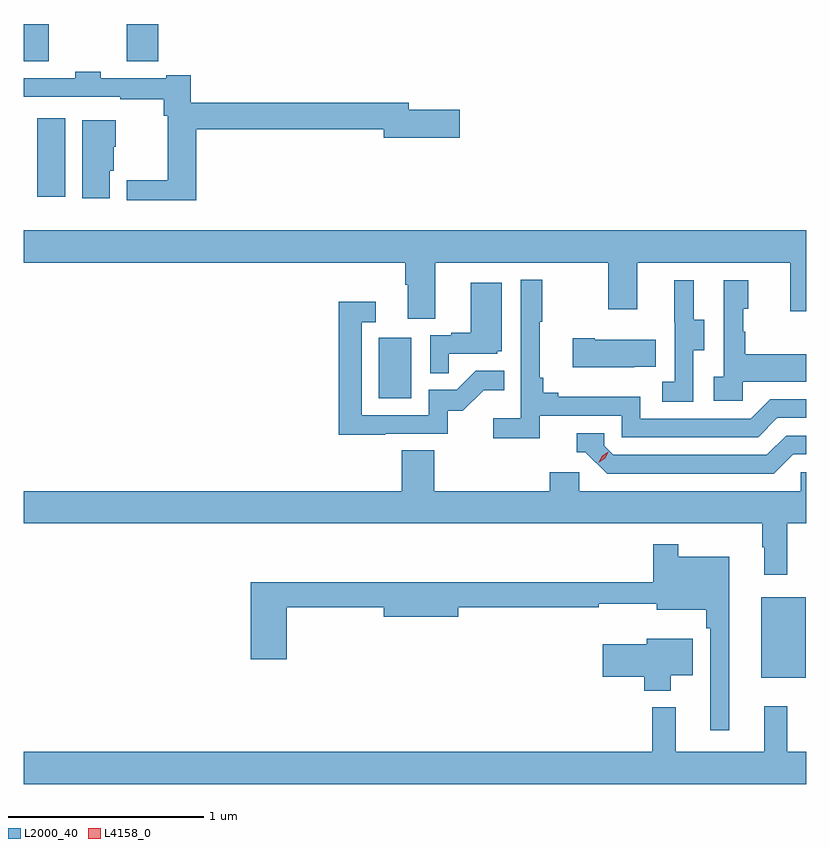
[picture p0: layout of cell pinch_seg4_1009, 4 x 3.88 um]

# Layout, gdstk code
import gdstk
lib = gdstk.Library(unit=1e-6, precision=1e-09)
def R(c, l, rs):  # rectangles x0, y0, x1, y1
    for r in rs: c.add(gdstk.rectangle(r[:2], r[2:], *l))
def P(c, l, *ps):  # polygons
    for p in ps: c.add(gdstk.Polygon(p, *l))
L2000_40 = (2000, 40)
L4158_0 = (4158, 0)

pinch_seg4_1009 = lib.new_cell('pinch_seg4_1009')
R(pinch_seg4_1009, L2000_40, [(822.395,788.039,822.622,788.449), (820.442,789.468,820.606,789.775), (818.696,790.496,818.839,790.897), (818.626,791.188,818.756,791.379), (819.154,791.188,819.314,791.379)])
P(pinch_seg4_1009, L2000_40, [(819.509,790.84),(820.466,790.84),(820.466,790.798),(820.855,790.798),(820.855,790.94),(820.594,790.94),(820.594,790.976),(819.479,790.976),(819.479,791.116),(819.356,791.116),(819.356,791.103),(819.021,791.103),(819.021,791.136),(818.889,791.136),(818.889,791.103),(818.626,791.103),(818.626,791.007),(819.121,791.007),(819.121,790.995),(819.343,790.995),(819.343,790.91),(819.362,790.91),(819.362,790.58),(819.153,790.58),(819.153,790.478),(819.509,790.478)],
  [(819.067,790.629),(819.088,790.629),(819.088,790.752),(819.097,790.752),(819.097,790.888),(818.927,790.888),(818.927,790.488),(819.067,790.488)],
  [(818.626,790.16),(820.577,790.16),(820.577,790.048),(820.589,790.048),(820.589,789.874),(820.729,789.874),(820.729,790.16),(821.614,790.16),(821.614,789.921),(821.761,789.921),(821.761,790.16),(822.542,790.16),(822.542,789.912),(822.626,789.912),(822.626,790.324),(818.626,790.324)],
  [(821.264,789.378),(821.682,789.378),(821.682,789.267),(822.379,789.267),(822.478,789.366),(822.626,789.366),(822.626,789.462),(822.441,789.462),(822.342,789.363),(821.778,789.363),(821.778,789.475),(821.359,789.475),(821.359,789.494),(821.282,789.494),(821.282,789.571),(821.263,789.571),(821.263,789.859),(821.275,789.859),(821.275,790.072),(821.166,790.072),(821.166,789.364),(821.025,789.364),(821.025,789.262),(821.264,789.262)],
  [(822.048,789.712),(822.103,789.712),(822.103,789.867),(822.049,789.867),(822.049,790.069),(821.951,790.069),(821.951,789.855),(821.952,789.855),(821.952,789.551),(821.889,789.551),(821.889,789.448),(822.048,789.448)],
  [(822.3,789.551),(822.626,789.551),(822.626,789.691),(822.313,789.691),(822.313,789.806),(822.303,789.806),(822.303,789.924),(822.328,789.924),(822.328,790.069),(822.204,790.069),(822.204,789.578),(822.153,789.578),(822.153,789.453),(822.3,789.453)],
  [(820.799,789.693),(821.046,789.693),(821.046,789.708),(821.068,789.708),(821.068,790.057),(820.91,790.057),(820.91,789.802),(820.811,789.802),(820.811,789.789),(820.704,789.789),(820.704,789.595),(820.799,789.595)],
  [(820.475,789.285),(820.794,789.285),(820.794,789.402),(820.87,789.402),(820.977,789.509),(821.081,789.509),(821.081,789.608),(820.937,789.608),(820.839,789.51),(820.695,789.51),(820.695,789.381),(820.353,789.381),(820.353,789.855),(820.426,789.855),(820.426,789.961),(820.237,789.961),(820.237,789.28),(820.475,789.28)],
  [(821.747,789.629),(821.855,789.629),(821.855,789.766),(821.545,789.766),(821.545,789.774),(821.433,789.774),(821.433,789.626),(821.747,789.626)],
  [(822.559,789.18),(822.626,789.18),(822.626,789.276),(822.522,789.276),(822.423,789.177),(821.64,789.177),(821.592,789.225),(821.592,789.288),(821.453,789.288),(821.453,789.192),(821.496,789.192),(821.607,789.081),(822.46,789.081)],
  [(822.527,788.828),(822.626,788.828),(822.626,789.09),(822.597,789.09),(822.597,788.992),(821.466,788.992),(821.466,789.09),(821.315,789.09),(821.315,788.992),(820.724,788.992),(820.724,789.2),(820.559,789.2),(820.559,788.992),(818.626,788.992),(818.626,788.828),(822.399,788.828),(822.399,788.705),(822.41,788.705),(822.41,788.565),(822.527,788.565)],
  [(822.232,788.656),(821.971,788.656),(821.971,788.722),(821.842,788.722),(821.842,788.527),(819.788,788.527),(819.788,788.133),(819.971,788.133),(819.971,788.398),(820.466,788.398),(820.466,788.351),(820.846,788.351),(820.846,788.398),(821.565,788.398),(821.565,788.417),(821.861,788.417),(821.861,788.387),(822.115,788.387),(822.115,788.291),(822.135,788.291),(822.135,787.77),(822.232,787.77)],
  [(821.932,788.051),(822.046,788.051),(822.046,788.239),(821.81,788.239),(821.81,788.209),(821.586,788.209),(821.586,788.044),(821.798,788.044),(821.798,787.973),(821.932,787.973)],
  [(822.626,787.66),(822.527,787.66),(822.527,787.894),(822.41,787.894),(822.41,787.66),(821.957,787.66),(821.957,787.888),(821.839,787.888),(821.839,787.66),(818.626,787.66),(818.626,787.496),(822.626,787.496)])
P(pinch_seg4_1009, L4158_0, [(821.566,789.141),(821.566,789.141),(821.583,789.174),(821.614,789.193),(821.614,789.193),(821.614,789.193),(821.598,789.16),(821.567,789.141)])

lib.write_gds('pinch_seg4_1009.gds')
